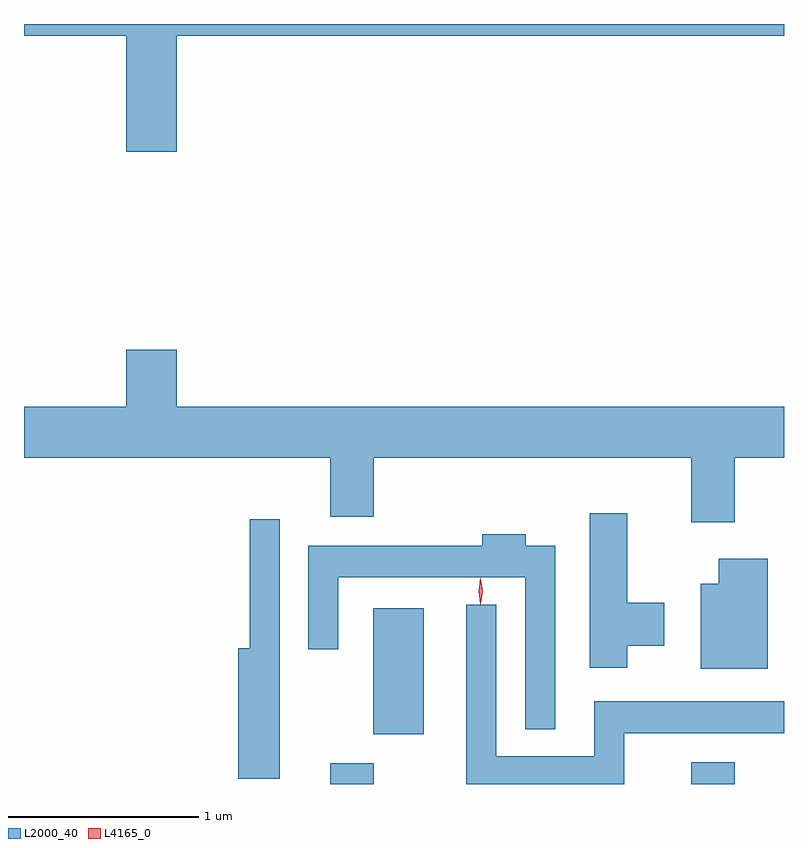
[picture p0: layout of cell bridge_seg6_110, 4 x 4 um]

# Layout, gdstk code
import gdstk
lib = gdstk.Library(unit=1e-6, precision=1e-09)
def R(c, l, rs):  # rectangles x0, y0, x1, y1
    for r in rs: c.add(gdstk.rectangle(r[:2], r[2:], *l))
def P(c, l, *ps):  # polygons
    for p in ps: c.add(gdstk.Polygon(p, *l))
L2000_40 = (2000, 40)
L4165_0 = (4165, 0)

bridge_seg6_110 = lib.new_cell('bridge_seg6_110')
R(bridge_seg6_110, L2000_40, [(1055.311,1612.699,1055.539,1612.809), (1057.211,1612.699,1057.439,1612.814), (1055.536,1612.961,1055.804,1613.624)])
P(bridge_seg6_110, L2000_40, [(1053.699,1616.636),(1054.236,1616.636),(1054.236,1616.026),(1054.504,1616.026),(1054.504,1616.636),(1057.699,1616.636),(1057.699,1616.699),(1053.699,1616.699)],
  [(1057.439,1614.416),(1057.699,1614.416),(1057.699,1614.684),(1054.504,1614.684),(1054.504,1614.984),(1054.236,1614.984),(1054.236,1614.684),(1053.699,1614.684),(1053.699,1614.416),(1055.311,1614.416),(1055.311,1614.106),(1055.539,1614.106),(1055.539,1614.416),(1057.211,1614.416),(1057.211,1614.076),(1057.439,1614.076)],
  [(1056.874,1613.426),(1057.069,1613.426),(1057.069,1613.654),(1056.874,1613.654),(1056.874,1614.124),(1056.676,1614.124),(1056.676,1613.311),(1056.874,1613.311)],
  [(1055.044,1614.093),(1054.886,1614.093),(1054.886,1613.414),(1054.826,1613.414),(1054.826,1612.726),(1055.044,1612.726)],
  [(1056.494,1613.954),(1056.339,1613.954),(1056.339,1614.014),(1056.111,1614.014),(1056.111,1613.954),(1055.196,1613.954),(1055.196,1613.408),(1055.354,1613.408),(1055.354,1613.786),(1056.336,1613.786),(1056.336,1612.988),(1056.494,1612.988)],
  [(1057.614,1613.884),(1057.356,1613.884),(1057.356,1613.754),(1057.261,1613.754),(1057.261,1613.306),(1057.614,1613.306)],
  [(1056.859,1612.966),(1057.699,1612.966),(1057.699,1613.134),(1056.701,1613.134),(1056.701,1612.844),(1056.184,1612.844),(1056.184,1613.643),(1056.026,1613.643),(1056.026,1612.699),(1056.859,1612.699)])
P(bridge_seg6_110, L4165_0, [(1056.101,1613.644),(1056.092,1613.713),(1056.101,1613.782),(1056.102,1613.783),(1056.102,1613.782),(1056.112,1613.713),(1056.102,1613.644),(1056.102,1613.644)],
  [(1056.103,1613.647),(1056.094,1613.714),(1056.103,1613.78),(1056.104,1613.78),(1056.104,1613.78),(1056.114,1613.714),(1056.104,1613.647),(1056.104,1613.647)])

lib.write_gds('bridge_seg6_110.gds')
